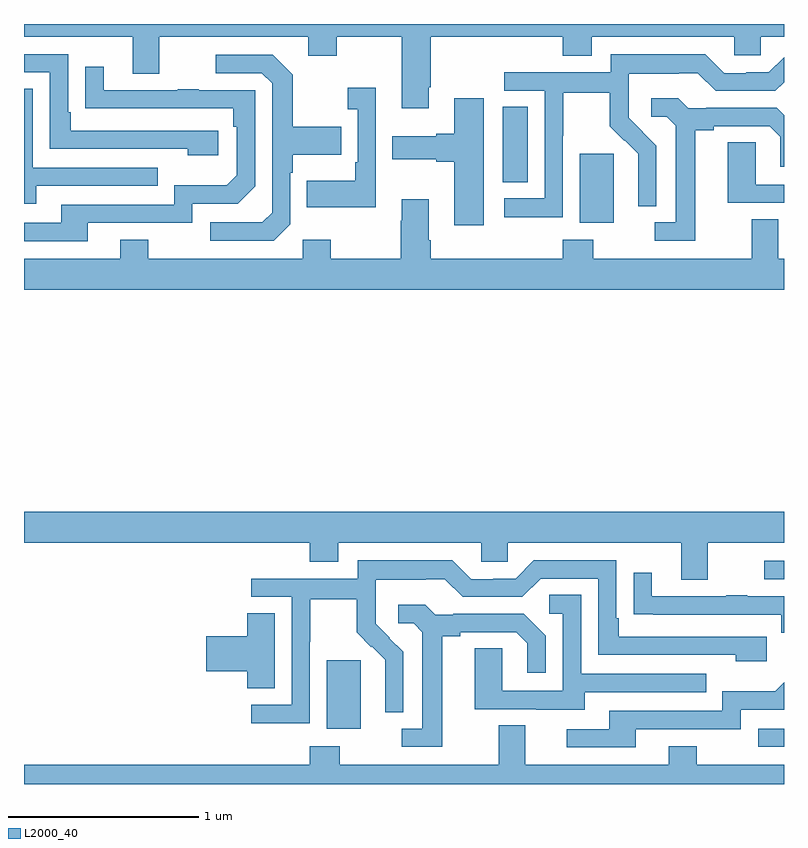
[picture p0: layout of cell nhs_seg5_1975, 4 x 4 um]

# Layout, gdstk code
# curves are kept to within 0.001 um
import gdstk
lib = gdstk.Library(unit=1e-6, precision=1e-09)
def R(c, l, rs):  # rectangles x0, y0, x1, y1
    for r in rs: c.add(gdstk.rectangle(r[:2], r[2:], *l))
def P(c, l, *ps):  # polygons
    for p in ps: c.add(gdstk.Polygon(p, *l))
L2000_40 = (2000, 40)

nhs_seg5_1975 = lib.new_cell('nhs_seg5_1975')
R(nhs_seg5_1975, L2000_40, [(230.865,880.995,231,881.091), (228.593,881.09,228.772,881.451), (230.895,881.877,231,881.973), (229.925,883.754,230.104,884.115), (229.52,883.966,229.651,884.363)])
P(nhs_seg5_1975, L2000_40, [(229.129,884.467),(229.142,884.467),(229.142,884.732),(229.835,884.732),(229.835,884.633),(229.987,884.633),(229.987,884.732),(230.739,884.732),(230.739,884.634),(230.877,884.634),(230.877,884.732),(231,884.732),(231,884.799),(227,884.799),(227,884.732),(227.573,884.732),(227.573,884.538),(227.713,884.538),(227.713,884.732),(228.497,884.732),(228.497,884.633),(228.645,884.633),(228.645,884.732),(228.989,884.732),(228.989,884.355),(229.129,884.355)],
  [(229.836,884.212),(229.839,884.212),(229.839,884.436),(230.083,884.436),(230.083,884.261),(230.16,884.184),(230.163,884.187),(230.234,884.117),(230.234,883.994),(230.232,883.994),(230.232,883.84),(230.328,883.84),(230.328,884.158),(230.182,884.306),(230.182,884.403),(230.184,884.403),(230.184,884.537),(230.447,884.537),(230.447,884.541),(230.547,884.541),(230.64,884.448),(230.955,884.448),(231,884.493),(231,884.625),(230.919,884.544),(230.801,884.544),(230.801,884.541),(230.685,884.541),(230.585,884.641),(230.088,884.641),(230.088,884.544),(229.527,884.544),(229.527,884.448),(229.74,884.448),(229.74,883.881),(229.527,883.881),(229.527,883.783),(229.836,883.783)],
  [(228.022,884.238),(227.245,884.238),(227.245,884.335),(227.232,884.335),(227.232,884.64),(227,884.64),(227,884.544),(227.136,884.544),(227.136,884.142),(227.861,884.142),(227.861,884.108),(228.022,884.108)],
  [(228.402,883.746),(228.402,884.015),(228.415,884.015),(228.415,884.111),(228.671,884.111),(228.671,884.259),(228.415,884.259),(228.415,884.531),(228.309,884.637),(228.009,884.637),(228.009,884.541),(228.252,884.541),(228.306,884.487),(228.306,883.806),(228.255,883.755),(227.979,883.755),(227.979,883.659),(228.315,883.659)],
  [(227.335,883.752),(227.886,883.752),(227.886,883.854),(228.126,883.854),(228.216,883.944),(228.216,884.451),(227.921,884.451),(227.921,884.456),(227.809,884.456),(227.809,884.451),(227.419,884.451),(227.419,884.575),(227.323,884.575),(227.323,884.356),(228.1,884.355),(228.1,884.258),(228.12,884.258),(228.12,884.004),(228.067,883.951),(227.79,883.951),(227.79,883.848),(227.195,883.848),(227.195,883.752),(227,883.752),(227,883.656),(227.335,883.656)],
  [(228.852,884.464),(228.705,884.464),(228.705,884.351),(228.756,884.351),(228.756,884.071),(228.744,884.071),(228.744,883.975),(228.487,883.975),(228.487,883.835),(228.852,883.835)],
  [(227.065,883.947),(227.705,883.947),(227.705,884.043),(227.046,884.043),(227.046,884.459),(227,884.459),(227,883.853),(227.065,883.853)],
  [(229.42,884.407),(229.265,884.407),(229.265,884.222),(229.169,884.222),(229.169,884.209),(228.939,884.209),(228.939,884.087),(229.169,884.087),(229.169,884.075),(229.265,884.075),(229.265,883.74),(229.42,883.74)],
  [(230.533,884.24),(230.629,884.24),(230.629,884.262),(230.924,884.262),(230.981,884.205),(230.981,884.049),(231,884.049),(231,884.32),(230.962,884.358),(230.59,884.358),(230.59,884.355),(230.496,884.355),(230.444,884.407),(230.301,884.407),(230.301,884.31),(230.382,884.31),(230.429,884.263),(230.429,883.755),(230.319,883.755),(230.319,883.659),(230.533,883.659)],
  [(231,883.953),(230.85,883.953),(230.85,884.177),(230.705,884.177),(230.705,883.857),(231,883.857)],
  [(231,883.564),(230.971,883.564),(230.971,883.772),(230.831,883.772),(230.831,883.564),(229.995,883.564),(229.995,883.663),(229.835,883.663),(229.835,883.564),(229.142,883.564),(229.142,883.66),(229.129,883.66),(229.129,883.876),(228.989,883.876),(228.989,883.763),(228.982,883.763),(228.982,883.564),(228.615,883.564),(228.615,883.663),(228.468,883.663),(228.468,883.564),(227.655,883.564),(227.655,883.663),(227.507,883.663),(227.507,883.564),(227,883.564),(227,883.4),(231,883.4)],
  [(230.599,882.068),(231,882.068),(231,882.232),(227,882.232),(227,882.068),(228.503,882.068),(228.503,881.969),(228.655,881.969),(228.655,882.068),(229.407,882.068),(229.407,881.97),(229.545,881.97),(229.545,882.068),(230.459,882.068),(230.459,881.874),(230.599,881.874)],
  [(228.504,881.548),(228.507,881.548),(228.507,881.772),(228.751,881.772),(228.751,881.597),(228.828,881.52),(228.831,881.523),(228.902,881.453),(228.902,881.33),(228.9,881.33),(228.9,881.176),(228.996,881.176),(228.996,881.494),(228.85,881.642),(228.85,881.739),(228.852,881.739),(228.852,881.873),(229.115,881.873),(229.115,881.877),(229.215,881.877),(229.308,881.784),(229.623,881.784),(229.719,881.88),(230.022,881.88),(230.022,881.478),(230.747,881.478),(230.747,881.444),(230.908,881.444),(230.908,881.574),(230.131,881.574),(230.131,881.671),(230.118,881.671),(230.118,881.976),(229.683,881.976),(229.587,881.88),(229.469,881.88),(229.469,881.877),(229.353,881.877),(229.253,881.977),(228.756,881.977),(228.756,881.88),(228.195,881.88),(228.195,881.784),(228.408,881.784),(228.408,881.217),(228.195,881.217),(228.195,881.119),(228.504,881.119)],
  [(231,881.787),(230.807,881.787),(230.807,881.792),(230.695,881.792),(230.695,881.787),(230.305,881.787),(230.305,881.911),(230.209,881.911),(230.209,881.692),(230.311,881.692),(230.311,881.691),(230.986,881.691),(230.986,881.594),(231,881.594)],
  [(229.951,881.283),(230.591,881.283),(230.591,881.379),(229.932,881.379),(229.932,881.795),(229.764,881.795),(229.764,881.694),(229.836,881.694),(229.836,881.289),(229.518,881.289),(229.518,881.513),(229.373,881.513),(229.373,881.193),(229.697,881.193),(229.697,881.189),(229.951,881.189)],
  [(229.201,881.576),(229.297,881.576),(229.297,881.598),(229.592,881.598),(229.649,881.541),(229.649,881.385),(229.746,881.385),(229.746,881.578),(229.63,881.694),(229.258,881.694),(229.258,881.691),(229.164,881.691),(229.112,881.743),(228.969,881.743),(228.969,881.646),(229.05,881.646),(229.097,881.599),(229.097,881.091),(228.987,881.091),(228.987,880.995),(229.201,880.995)],
  [(228.319,881.699),(228.176,881.699),(228.176,881.576),(227.958,881.576),(227.958,881.393),(228.176,881.393),(228.176,881.302),(228.319,881.302)],
  [(230.221,881.088),(230.772,881.088),(230.772,881.19),(231,881.19),(231,881.334),(230.953,881.287),(230.676,881.287),(230.676,881.184),(230.081,881.184),(230.081,881.088),(229.857,881.088),(229.857,880.992),(230.221,880.992)],
  [(231,880.9),(230.541,880.9),(230.541,880.999),(230.393,880.999),(230.393,880.9),(229.639,880.9),(229.639,881.108),(229.499,881.108),(229.499,880.9),(228.663,880.9),(228.663,880.999),(228.503,880.999),(228.503,880.9),(227,880.9),(227,880.799),(231,880.799)])

lib.write_gds('nhs_seg5_1975.gds')
